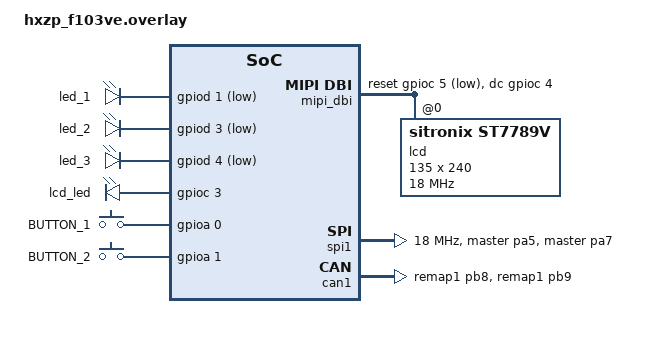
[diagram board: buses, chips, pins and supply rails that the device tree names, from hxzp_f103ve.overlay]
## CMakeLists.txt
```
cmake_minimum_required(VERSION 3.20)

# import zephyr library
find_package(Zephyr REQUIRED HINTS $ENV{ZEPHYR_BASE})

# define cmake project
project(duck)

file(GLOB_RECURSE APP_SOURCES CONFIGURE_DEPENDS
    "src/*.c"
    "src/*.cpp"
)

# list(FILTER APP_SOURCES EXCLUDE REGEX "src/key.cpp")

target_sources(app PRIVATE
    ${APP_SOURCES})

# 将上层模块目录添加到Zephyr的额外模块搜索路径中**
list(APPEND ZEPHYR_EXTRA_MODULES
    ${CMAKE_CURRENT_SOURCE_DIR}/..  
)


# 添加设备树绑定文件的搜索路径
list(APPEND DTS_ROOT ${CMAKE_CURRENT_SOURCE_DIR}/../boards) 
```

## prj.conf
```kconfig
# Enable MPU
# CONFIG_ARM_MPU=y
CONFIG_MAIN_STACK_SIZE=4096
CONFIG_STATIC_INIT_GNU=y
# CONFIG_HW_STACK_PROTECTION=y
# C++ 支持
CONFIG_CPP=y
CONFIG_HEAP_MEM_POOL_SIZE=30000
# 标准库支�?
CONFIG_NEWLIB_LIBC=y
CONFIG_REQUIRES_FULL_LIBC=y

CONFIG_USE_SEGGER_RTT=y

# enable console
CONFIG_CONSOLE=y
# CONFIG_UART_CONSOLE=y
CONFIG_RTT_CONSOLE=y

CONFIG_LOG=y
CONFIG_LOG_BACKEND_RTT=y


CONFIG_CAN=y 
# CONFIG_CAN_LOOPBACK=y

CONFIG_LED=y
CONFIG_LED_GPIO=y


CONFIG_INPUT=y
CONFIG_INPUT_GPIO_KEYS=y
# CONFIG_INPUT_LONGPRESS=y


CONFIG_DISPLAY=y

CONFIG_LOG=y
CONFIG_LOG_DEFAULT_LEVEL=3

CONFIG_SPI_STM32_DMA=y
```

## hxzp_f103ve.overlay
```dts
/* This file will automatic applyed when using damiao_mc02 board */
#include <zephyr/dt-bindings/input/input-event-codes.h>
#include <zephyr/dt-bindings/spi/spi.h>
#include <zephyr/dt-bindings/dma/stm32_dma.h>

/ {
    gpio-leds {
        compatible = "gpio-leds";

        led_1: led_1{
            gpios = <&gpiod 1 GPIO_ACTIVE_LOW>;
            status = "okay";
        };
        led_2: led_2{
            gpios = <&gpiod 3 GPIO_ACTIVE_LOW>;
            status = "okay";
        };
        led_3: led_3{
            gpios = <&gpiod 4 GPIO_ACTIVE_LOW>;
            status = "okay";
        };
        lcd_led: led_4{
            gpios = <&gpioc 3 (GPIO_ACTIVE_HIGH | GPIO_PULL_DOWN)>;
            status = "okay";
        };  
    };

    gpio_keys: gpio_keys {
        compatible = "gpio-keys";
        status = "okay";

        button_1: button_1 {
            label = "BUTTON_1";
            gpios = <&gpioa 0 (GPIO_ACTIVE_HIGH | GPIO_PULL_DOWN)>;
            zephyr,code = <INPUT_KEY_1>;
        };
        button_2: button_2 {
            label = "BUTTON_2";
            gpios = <&gpioa 1 (GPIO_ACTIVE_HIGH | GPIO_PULL_DOWN)>;
            zephyr,code = <INPUT_KEY_2>;
        };
    };

    // longpress: longpress {
    //     compatible = "zephyr,input-longpress";
    //     input = <&gpio_keys>;
    //     input-codes = <INPUT_KEY_1>;
    //     short-codes = <INPUT_KEY_A>;
    //     long-codes = <INPUT_KEY_X>;
    //     long-delay-ms = <1000>;
    // };



    mipi_dbi {
        compatible = "zephyr,mipi-dbi-spi";
        spi-dev = <&spi1>;

        dc-gpios = <&gpioc 4 (GPIO_ACTIVE_HIGH | GPIO_PULL_DOWN)>;
        reset-gpios = <&gpioc 5 (GPIO_ACTIVE_LOW | GPIO_PULL_DOWN)>;
        write-only;
        #address-cells = <1>;
        #size-cells = <0>;

        lcd: st7789v@0 {
            compatible = "sitronix,st7789v";
            reg = <0>;
            mipi-max-frequency = <18000000>;

            width = <135>;
            height = <240>;
            x-offset = <0x34>;
            y-offset = <0x28>;

            vcom = <0x28>;
            gctrl = <0x35>;
            vrhs = <0x10>;
            vdvs = <0x20>;
            mdac = <0x00>;
            gamma = <0x01>;
            colmod = <0x55>;
            lcm = <0x2c>;
            porch-param = [ 0c 0c 00 33 33  ];
            cmd2en-param = [ 5a 69 02 00  ];
            pwctrl1-param = [ a4 a1  ];
            pvgam-param = [ d0 00 02 07 0a 28 32 44 42 06 0e 12 14 17  ];
            nvgam-param = [ d0 00 02 07 0a 28 31 54 47 0e 1c 17 1b 1e  ];
            ram-param = [ 00 F0  ];
            rgb-param = [ 40 02 14  ];
            mipi-mode = "MIPI_DBI_MODE_SPI_4WIRE";
        };
    };
};

&spi1 {
    pinctrl-0 = <&spi1_sck_master_pa5 &spi1_mosi_master_pa7>;
    pinctrl-names = "default";
    cs-gpios = <&gpioa 4 (GPIO_ACTIVE_LOW | GPIO_PULL_DOWN)>;
    status = "okay";
    clock-frequency = <18000000>;

    //stm32f103使用的是"st,stm32-dma-v2bis"，从stm32f1.dtsi可见
    dmas = <&dma1 3 (STM32_DMA_PERIPH_TX | STM32_DMA_PRIORITY_HIGH)>;
    dma-names = "tx";
};

&dma1 {
    status = "okay";
};

&can1 { 
    status = "okay"; 
    pinctrl-0 = <&can_rx_remap1_pb8 &can_tx_remap1_pb9>; /* ָ��������ӳ������ */ 
    pinctrl-names = "default"; 
};
```

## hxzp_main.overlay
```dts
/* This file will automatic applyed when using damiao_mc02 board */
#include <zephyr/dt-bindings/input/input-event-codes.h>
#include <zephyr/dt-bindings/spi/spi.h>
#include <zephyr/dt-bindings/dma/stm32_dma.h>

/ {
    gpio-leds {
        compatible = "gpio-leds";

        led_1: led_1{
            gpios = <&gpiod 1 GPIO_ACTIVE_LOW>;
            status = "okay";
        };
        led_2: led_2{
            gpios = <&gpiod 3 GPIO_ACTIVE_LOW>;
            status = "okay";
        };
        led_3: led_3{
            gpios = <&gpiod 4 GPIO_ACTIVE_LOW>;
            status = "okay";
        };
        lcd_led: led_4{
            gpios = <&gpioc 3 (GPIO_ACTIVE_HIGH | GPIO_PULL_DOWN)>;
            status = "okay";
        };  
    };

    gpio_keys: gpio_keys {
        compatible = "gpio-keys";
        status = "okay";

        button_1: button_1 {
            label = "BUTTON_1";
            gpios = <&gpioa 0 (GPIO_ACTIVE_HIGH | GPIO_PULL_DOWN)>;
            zephyr,code = <INPUT_KEY_1>;
        };
        button_2: button_2 {
            label = "BUTTON_2";
            gpios = <&gpioa 1 (GPIO_ACTIVE_HIGH | GPIO_PULL_DOWN)>;
            zephyr,code = <INPUT_KEY_2>;
        };
    };

    // longpress: longpress {
    //     compatible = "zephyr,input-longpress";
    //     input = <&gpio_keys>;
    //     input-codes = <INPUT_KEY_1>;
    //     short-codes = <INPUT_KEY_A>;
    //     long-codes = <INPUT_KEY_X>;
    //     long-delay-ms = <1000>;
    // };



    mipi_dbi {
        compatible = "zephyr,mipi-dbi-spi";
        spi-dev = <&spi1>;

        dc-gpios = <&gpioc 4 (GPIO_ACTIVE_HIGH | GPIO_PULL_DOWN)>;
        reset-gpios = <&gpioc 5 (GPIO_ACTIVE_LOW | GPIO_PULL_DOWN)>;
        write-only;
        #address-cells = <1>;
        #size-cells = <0>;

        lcd: st7789v@0 {
            compatible = "sitronix,st7789v";
            reg = <0>;
            mipi-max-frequency = <18000000>;

            width = <135>;
            height = <240>;
            x-offset = <0x34>;
            y-offset = <0x28>;

            vcom = <0x28>;
            gctrl = <0x35>;
            vrhs = <0x10>;
            vdvs = <0x20>;
            mdac = <0x00>;
            gamma = <0x01>;
            colmod = <0x55>;
            lcm = <0x2c>;
            porch-param = [ 0c 0c 00 33 33  ];
            cmd2en-param = [ 5a 69 02 00  ];
            pwctrl1-param = [ a4 a1  ];
            pvgam-param = [ d0 00 02 07 0a 28 32 44 42 06 0e 12 14 17  ];
            nvgam-param = [ d0 00 02 07 0a 28 31 54 47 0e 1c 17 1b 1e  ];
            ram-param = [ 00 F0  ];
            rgb-param = [ 40 02 14  ];
            mipi-mode = "MIPI_DBI_MODE_SPI_4WIRE";
        };
    };
};

&spi1 {
    pinctrl-0 = <&spi1_sck_master_pa5 &spi1_mosi_master_pa7>;
    pinctrl-names = "default";
    cs-gpios = <&gpioa 4 (GPIO_ACTIVE_LOW | GPIO_PULL_DOWN)>;
    status = "okay";
    clock-frequency = <18000000>;

    //stm32f103使用的是"st,stm32-dma-v2bis"，从stm32f1.dtsi可见
    dmas = <&dma1 3 (STM32_DMA_PERIPH_TX | STM32_DMA_PRIORITY_HIGH)>;
    dma-names = "tx";
};

&dma1 {
    status = "okay";
};

&can1 { 
    status = "okay"; 
    pinctrl-0 = <&can_rx_remap1_pb8 &can_tx_remap1_pb9>; 
    pinctrl-names = "default"; 
};
```

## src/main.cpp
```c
/* 文件：main.c */
#include <zephyr/kernel.h>
#include <zephyr/device.h>
#include <zephyr/devicetree.h>
#include <zephyr/logging/log.h>
#include <zephyr/drivers/can.h>
#include <zephyr/input/input.h>

#include "led.h"
#include "key.h"
#include "lcd.h"


LOG_MODULE_REGISTER(main, LOG_LEVEL_INF);

const struct device *const can_dev = DEVICE_DT_GET(DT_NODELABEL(can1));

/* CAN 接收回调函数 */
static void can_rx_callback(const struct device *dev, struct can_frame *frame, void *user_data) {
    LOG_INF("rx ID: 0x%x, len: %d", frame->id, frame->dlc);
    for (int i = 0; i < frame->dlc; i++) {
        LOG_INF("data[%d]: 0x%x", i, frame->data[i]);
    }
}

int main() {


	led_init();
	// key_init();
	lcd_init();

    /* 1. 检查CAN设备是否就绪 */
    if (!device_is_ready(can_dev)) {
        return 0;
    }

    /* 2. 配置CAN位时序（1Mbps示例，基于36MHz APB1时钟） */
    struct can_timing timing;
    timing.sjw = 1;//CAN_SJW_1TQ这个参数是错误的，实际值是0，不在最小和最大值的范围内
    timing.prop_seg = 0;
    timing.phase_seg1 = 6;  // 对于1Mbps，APB1=36MHz
    timing.phase_seg2 = 2;
    timing.prescaler = 8;
    
	// const struct can_timing *min = can_get_timing_min(can_dev);
	// const struct can_timing *max = can_get_timing_max(can_dev);
    // LOG_INF("CAN timing: sjw=%d, prop_seg=%d, phase_seg1=%d, phase_seg2=%d, prescaler=%d",
    //     min->sjw, min->prop_seg, min->phase_seg1, min->phase_seg2, min->prescaler);

    // LOG_INF("CAN timing: sjw=%d, prop_seg=%d, phase_seg1=%d, phase_seg2=%d, prescaler=%d",
    //     max->sjw, max->prop_seg, max->phase_seg1, max->phase_seg2, max->prescaler);

    int ret = can_set_timing(can_dev, &timing);
    if(ret)
    {
        LOG_ERR("can_set_timing failed, %d",ret);
    }
    can_set_mode(can_dev, CAN_MODE_NORMAL); // CAN_MODE_NORMAL
    can_start(can_dev);

    /* 3. 设置CAN接收过滤器（匹配所有标准帧） */
    struct can_filter filter = {
        .id = 0,
        .mask = 0,
        .flags = 0,
    };
    can_add_rx_filter(can_dev, can_rx_callback, NULL, &filter);

    /* 4. 定义要发送的CAN帧 */
    struct can_frame frame = {
        .id = 0x201,
        .dlc = 4,
        .flags = 0,
        .data = {0x01, 0x02, 0x03, 0x04}
    };

    LOG_INF("main thread started.");
    while (1) {
        /* 循环递增帧ID */
        if (frame.id < 0x300) {
            frame.id++;
        } else {
            frame.id = 0x201;
        }

        /* 发送CAN帧 */
        can_send(can_dev, &frame, K_NO_WAIT, NULL, NULL);
        k_msleep(1000);
    }
}
```

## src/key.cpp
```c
#include <zephyr/kernel.h>
#include <zephyr/device.h>
#include <zephyr/devicetree.h>
#include <zephyr/logging/log.h>
#include <zephyr/input/input.h>

LOG_MODULE_REGISTER(key, LOG_LEVEL_INF);

/* 按键事件回调函数 */
static void input_cb(struct input_event *evt, void *user_data) {
    LOG_INF("key evt: %d, %d", evt->code, evt->value);
    if (evt->value == 1) {
        switch (evt->code) {
            case INPUT_KEY_1:
                LOG_INF("press INPUT_KEY_1");
                break;
            case INPUT_KEY_2:
                LOG_INF("press INPUT_KEY_2");
                break;
            default:
                /* 忽略其他按键事件 */
                break;
        }
    } else if (evt->value == 0) {
        switch (evt->code) {
            case INPUT_KEY_1:
                LOG_INF("release INPUT_KEY_1");
                break;
            case INPUT_KEY_2:
                LOG_INF("release INPUT_KEY_2");
                break;
            default:
                /* 忽略其他按键事件 */
                break;
        }
    }
}
// 注册按键回调
INPUT_CALLBACK_DEFINE(NULL, input_cb, NULL);
```

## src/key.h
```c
#ifndef _KEY_H_
#define _KEY_H_

int key_init(void);

#endif /* _LED_H_ */
```

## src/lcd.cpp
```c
#include <zephyr/kernel.h>
#include <zephyr/device.h>
#include <zephyr/devicetree.h>
#include <zephyr/logging/log.h>
#include <zephyr/drivers/display.h>
#include <zephyr/sys/mem_manage.h>
#include <zephyr/drivers/gpio.h>
#include "lcd.h"

LOG_MODULE_REGISTER(lcd, LOG_LEVEL_INF);

void lcd_fresh(uint16_t color);
void lcd_ctrl(void *arg1, void *arg2, void *arg3)
{
	uint16_t color = 0;
	while (1) 
	{
		color++;
		if (color > 0xFFFF)
			color = 0;

		lcd_fresh(color);
		k_msleep(10);
	}
}
K_THREAD_STACK_DEFINE(lcd_stack_area, 512); // 根据堆栈大小定义堆栈
struct k_thread lcd_thread_data;            // 线程结构块

#define LCD_NODE DT_NODELABEL(lcd)
const struct device *display_dev = DEVICE_DT_GET(LCD_NODE);

#define LCD_LED_NODE DT_NODELABEL(lcd_led)
static const struct gpio_dt_spec lcd_led = GPIO_DT_SPEC_GET(LCD_LED_NODE, gpios);

uint8_t *lcd_buf;
void lcd_init(void)
{
	if (!device_is_ready(display_dev)) {
		LOG_INF("ST7789V device not ready!");
		return;
	}
	if (!gpio_is_ready_dt(&lcd_led)) {
		printk("lcd_led device is not ready");
		return;
	}
	gpio_pin_configure_dt(&lcd_led, GPIO_OUTPUT_ACTIVE); // 设置LCD背光

	// 清屏为黑色
	display_blanking_off(display_dev);

	struct display_buffer_descriptor desc;
	uint16_t width = 135;
	uint16_t height = 100;
	uint16_t color = 0xF800; // 红色，RGB565

	// 填充一块红色区域
	desc.width = width;
	desc.height = height;
	desc.pitch = width;
	desc.buf_size = width * height * 2;

	// 分配缓冲区
	lcd_buf = (uint8_t *)k_malloc(desc.buf_size);
	if (!lcd_buf) {
		LOG_INF("No memory for display buffer!");
		return;
	}

	// 填充红色
	for (int i = 0; i < width * height; i++) {
		lcd_buf[2 * i] = color >> 8;
		lcd_buf[2 * i + 1] = color & 0xFF;
	}

	// 显示缓冲区
	display_write(display_dev, 0, 0, &desc, lcd_buf);

	LOG_INF("ST7789V demo finished!");

	k_thread_create(&lcd_thread_data, lcd_stack_area, K_THREAD_STACK_SIZEOF(lcd_stack_area),
			lcd_ctrl, NULL, NULL, NULL, 5, 0, K_NO_WAIT);
}

void lcd_fresh(uint16_t color)
{
	uint16_t width = 135;
	uint16_t height = 100;

	struct display_buffer_descriptor desc;
	desc.width = width;
	desc.height = height;
	desc.pitch = width;
	desc.buf_size = width * height * 2;

	// 填充红色
	for (int i = 0; i < width * height; i++) {
		lcd_buf[2 * i] = color >> 8;
		lcd_buf[2 * i + 1] = color & 0xFF;
	}

	// 显示缓冲区
	display_write(display_dev, 0, 0, &desc, lcd_buf);

	// LOG_INF("lcd fresh color: 0x%04X\n", color);
}
```

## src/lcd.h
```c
#ifndef LCD_H
#define LCD_H

#include <stdint.h>

void lcd_init(void);

#endif // !
```

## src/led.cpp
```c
#include <zephyr/kernel.h>
#include <zephyr/device.h>
#include <zephyr/devicetree.h>
#include <zephyr/drivers/gpio.h>
#include "led.h"

#define LED1_NODE DT_NODELABEL(led_1)
static const struct gpio_dt_spec led1 = GPIO_DT_SPEC_GET(LED1_NODE, gpios);

#define LED2_NODE DT_NODELABEL(led_2)
static const struct gpio_dt_spec led2 = GPIO_DT_SPEC_GET(LED2_NODE, gpios);

#define LED3_NODE DT_NODELABEL(led_3)
static const struct gpio_dt_spec led3 = GPIO_DT_SPEC_GET(LED3_NODE, gpios);

void led_ctrl(void *arg1, void *arg2, void *arg3)
{
	while (1) {
		led_toggle(1);
		k_msleep(100);

		led_toggle(2);
		k_msleep(100);

		led_toggle(3);
		k_msleep(100);
	}
}
K_THREAD_STACK_DEFINE(led_stack_area, 512); // 根据堆栈大小定义堆栈
struct k_thread led_thread_data;            // 线程结构块


int led_init(void)
{
	// 检查设备是否就绪
	if (!gpio_is_ready_dt(&led1)) {
		printk("LED device is not ready\n");
		return -ENODEV;
	}
	// 检查设备是否就绪
	if (!gpio_is_ready_dt(&led2)) {
		printk("LED device is not ready\n");
		return -ENODEV;
	}
	// 检查设备是否就绪
	if (!gpio_is_ready_dt(&led3)) {
		printk("LED device is not ready\n");
		return -ENODEV;
	}

	// 配置GPIO引脚
	int ret = gpio_pin_configure_dt(&led1, GPIO_OUTPUT_ACTIVE);
	ret = gpio_pin_configure_dt(&led2, GPIO_OUTPUT_ACTIVE);
	ret = gpio_pin_configure_dt(&led3, GPIO_OUTPUT_ACTIVE);

	if (ret != 0) {
		printk("Failed to configure LED GPIO pin: %d\n", ret);
		return ret;
	}

	// 创建线程
	k_thread_create(&led_thread_data, led_stack_area, K_THREAD_STACK_SIZEOF(led_stack_area),
			led_ctrl, NULL, NULL, NULL, 5, 0, K_NO_WAIT);

	return ret;
}

void led_toggle(int led_num)
{
    switch (led_num) {
        case 1:
            gpio_pin_toggle_dt(&led1);
            break;
        case 2:
            gpio_pin_toggle_dt(&led2);
            break;
        case 3:
            gpio_pin_toggle_dt(&led3);
            break;
        default:
            printk("Invalid LED number: %d\n", led_num);
            break;
    }
}
```

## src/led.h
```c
#ifndef _LED_H_
#define _LED_H_

int led_init(void);
void led_toggle(int led_num);

#endif /* _LED_H_ */
```
